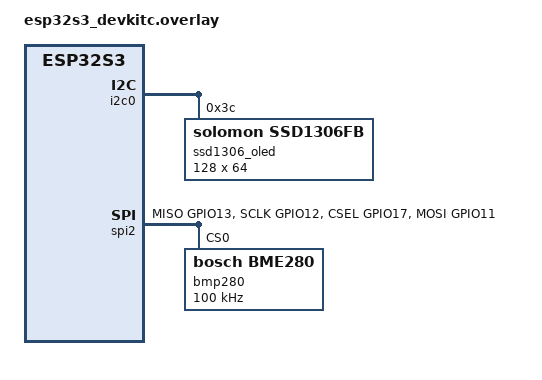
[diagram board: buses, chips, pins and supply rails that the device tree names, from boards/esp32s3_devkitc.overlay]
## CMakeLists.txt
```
cmake_minimum_required(VERSION 3.20.0)

find_package(Zephyr REQUIRED HINTS $ENV{ZEPHYR_BASE})
project(pressure_sensor_spi LANGUAGES C)

target_sources(app PRIVATE src/main.c)
```

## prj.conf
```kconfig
# Console + logging
CONFIG_CONSOLE=y
CONFIG_UART_CONSOLE=y
CONFIG_LOG=y
CONFIG_LOG_DEFAULT_LEVEL=3
CONFIG_CBPRINTF_FP_SUPPORT=y

# Use newlib so libm provides powf for altitude calculations
CONFIG_MINIMAL_LIBC=n
CONFIG_PICOLIBC=n
CONFIG_NEWLIB_LIBC=y

# Display stack for SSD1306
CONFIG_DISPLAY=y
CONFIG_DISPLAY_LOG_LEVEL_INF=y
CONFIG_I2C=y
CONFIG_SSD1306=y
CONFIG_CHARACTER_FRAMEBUFFER=y
CONFIG_CFB_LOG_LEVEL_INF=y

# Sensor stack for BMP280 over SPI
CONFIG_SENSOR=y
CONFIG_SPI=y
CONFIG_BME280=y

# Stack room for display + sensor operations
CONFIG_MAIN_STACK_SIZE=4096
CONFIG_HEAP_MEM_POOL_SIZE=8192
```

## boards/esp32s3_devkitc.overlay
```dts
/*
 * SSD1306 OLED on I2C0 (0x3C) for display.
 * BMP280 on SPI2 (GPIO12/11/13 for SCLK/MOSI/MISO, GPIO17 for CS).
 */

/ {
	chosen {
		zephyr,display = &ssd1306_oled;
	};
};

&i2c0 {
	status = "okay";

	ssd1306_oled: ssd1306@3c {
		compatible = "solomon,ssd1306fb";
		reg = <0x3c>;
		width = <128>;
		height = <64>;
		segment-offset = <0>;
		page-offset = <0>;
		display-offset = <0>;
		multiplex-ratio = <63>;
		segment-remap;
		com-invdir;
		prechargep = <0x22>;
	};
};

/* Remap SPI2 CS to GPIO17 (hardware CS). */
&pinctrl {
	spim2_gpio17_default: spim2_gpio17_default {
		group1 {
			pinmux = <SPIM2_MISO_GPIO13>,
				 <SPIM2_SCLK_GPIO12>,
				 <SPIM2_CSEL_GPIO17>;
		};
		group2 {
			pinmux = <SPIM2_MOSI_GPIO11>;
			output-low;
		};
	};
};

&spi2 {
	status = "okay";
	pinctrl-0 = <&spim2_gpio17_default>;
	pinctrl-names = "default";

	bmp280: bmp280@0 {
		compatible = "bosch,bme280";
		reg = <0>;
		/* BMP280 uses SPI Mode 0 (CPOL=0, CPHA=0) by default. */
		spi-max-frequency = <100000>;
	};
};
```

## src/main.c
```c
#include <zephyr/kernel.h>
#include <zephyr/device.h>
#include <zephyr/drivers/display.h>
#include <zephyr/display/cfb.h>
#include <zephyr/drivers/sensor.h>
#include <zephyr/logging/log.h>
#include <math.h>
#include <stdio.h>

#define SEA_LEVEL_PRESSURE_KPA 101.325f
#define SAMPLE_PERIOD_MS 500

LOG_MODULE_REGISTER(bmp280_oled, LOG_LEVEL_INF);

/* Display and sensor devices from devicetree. */
static const struct device *const display = DEVICE_DT_GET(DT_CHOSEN(zephyr_display));
static const struct device *const bmp280 = DEVICE_DT_GET(DT_NODELABEL(bmp280));

static bool cfb_ready;

static float pressure_to_altitude(float pressure_kpa)
{
	if (pressure_kpa <= 0.0f) {
		return 0.0f;
	}

	return 44330.0f * (1.0f - powf(pressure_kpa / SEA_LEVEL_PRESSURE_KPA, 0.1903f));
}

static void update_display(float temp_c, float pressure_kpa, float altitude_m)
{
	if (!cfb_ready) {
		return;
	}

	char line1[32], line2[32], line3[32];
	snprintk(line1, sizeof(line1), "T: %.2f C", (double)temp_c);
	snprintk(line2, sizeof(line2), "P: %.2f kPa", (double)pressure_kpa);
	snprintk(line3, sizeof(line3), "Alt: %.1f m", (double)altitude_m);

	cfb_framebuffer_clear(display, true);
	cfb_print(display, "BMP280 (SPI)", 2, 0);
	cfb_print(display, line1, 2, 16);
	cfb_print(display, line2, 2, 32);
	cfb_print(display, line3, 2, 48);
	cfb_framebuffer_finalize(display);
}

int main(void)
{
	if (!device_is_ready(display)) {
		LOG_ERR("Display device not ready");
		return 0;
	}

	if (display_set_pixel_format(display, PIXEL_FORMAT_MONO01) < 0) {
		LOG_ERR("Failed to set pixel format");
		return 0;
	}
	if (display_blanking_off(display) < 0) {
		LOG_ERR("Failed to unblank display");
		return 0;
	}
	if (cfb_framebuffer_init(display) < 0) {
		LOG_ERR("CFB init failed");
		return 0;
	}
	cfb_framebuffer_set_font(display, 0);
	cfb_ready = true;

	if (!device_is_ready(bmp280)) {
		LOG_WRN("BMP280 device not ready; showing placeholder screen");
		cfb_framebuffer_clear(display, true);
		cfb_print(display, "BMP280 not ready", 2, 16);
		cfb_print(display, "Check SPI wiring", 2, 32);
		cfb_framebuffer_finalize(display);
		goto idle;
	}

	LOG_INF("BMP280 SPI + OLED demo running (polling)");

	while (1) {
		struct sensor_value temp;
		struct sensor_value press;

		if (sensor_sample_fetch(bmp280) < 0) {
			LOG_ERR("BMP280 sample fetch failed");
			k_msleep(SAMPLE_PERIOD_MS);
			continue;
		}
		if (sensor_channel_get(bmp280, SENSOR_CHAN_AMBIENT_TEMP, &temp) < 0) {
			LOG_ERR("BMP280 temperature read failed");
			k_msleep(SAMPLE_PERIOD_MS);
			continue;
		}
		if (sensor_channel_get(bmp280, SENSOR_CHAN_PRESS, &press) < 0) {
			LOG_ERR("BMP280 pressure read failed");
			k_msleep(SAMPLE_PERIOD_MS);
			continue;
		}

		float temp_c = sensor_value_to_double(&temp);
		float pressure_kpa = sensor_value_to_double(&press);
		float altitude_m = pressure_to_altitude(pressure_kpa);

		LOG_INF("Temp: %.2f C Pressure: %.2f kPa Alt: %.1f m",
			(double)temp_c, (double)pressure_kpa, (double)altitude_m);
		update_display(temp_c, pressure_kpa, altitude_m);
		k_msleep(SAMPLE_PERIOD_MS);
	}

idle:
	while (1) {
		k_sleep(K_SECONDS(1));
	}

	return 0;
}
```
